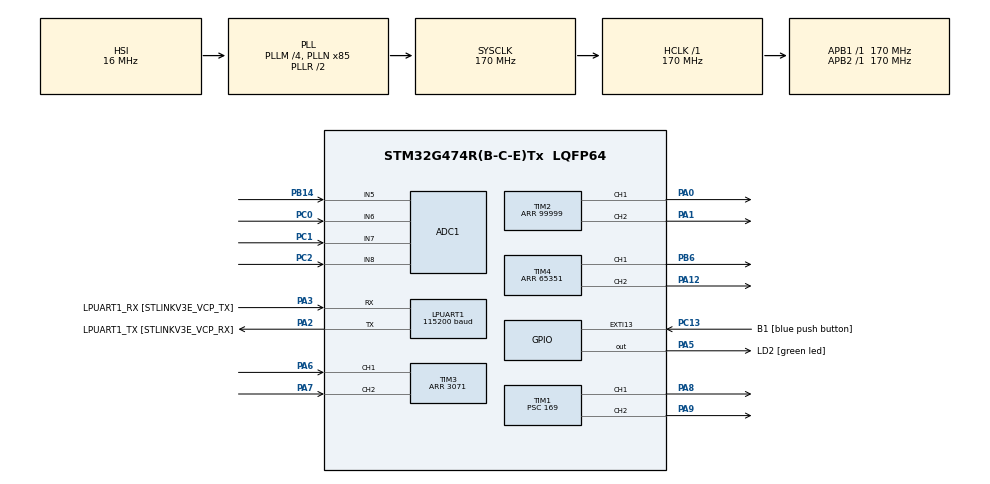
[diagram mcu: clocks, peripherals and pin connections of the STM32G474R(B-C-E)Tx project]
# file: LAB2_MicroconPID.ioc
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ADC1.Channel-1\#ChannelRegularConversion=ADC_CHANNEL_5
ADC1.Channel-2\#ChannelRegularConversion=ADC_CHANNEL_6
ADC1.Channel-3\#ChannelRegularConversion=ADC_CHANNEL_7
ADC1.Channel-4\#ChannelRegularConversion=ADC_CHANNEL_8
ADC1.ContinuousConvMode=ENABLE
ADC1.DMAContinuousRequests=ENABLE
ADC1.NbrOfConversion=4
ADC1.NbrOfConversionFlag=1
ADC1.OffsetNumber-1\#ChannelRegularConversion=ADC_OFFSET_NONE
ADC1.OffsetNumber-2\#ChannelRegularConversion=ADC_OFFSET_NONE
ADC1.OffsetNumber-3\#ChannelRegularConversion=ADC_OFFSET_NONE
ADC1.OffsetNumber-4\#ChannelRegularConversion=ADC_OFFSET_NONE
ADC1.Rank-1\#ChannelRegularConversion=1
ADC1.Rank-2\#ChannelRegularConversion=2
ADC1.Rank-3\#ChannelRegularConversion=3
ADC1.Rank-4\#ChannelRegularConversion=4
ADC1.SamplingTime-1\#ChannelRegularConversion=ADC_SAMPLETIME_640CYCLES_5
ADC1.SamplingTime-2\#ChannelRegularConversion=ADC_SAMPLETIME_640CYCLES_5
ADC1.SamplingTime-3\#ChannelRegularConversion=ADC_SAMPLETIME_640CYCLES_5
ADC1.SamplingTime-4\#ChannelRegularConversion=ADC_SAMPLETIME_640CYCLES_5
ADC1.master=1
ARM.CMSIS-DSP.1.15.0.CMSISJjDSP=Source
ARM.CMSIS.6.0.0.CMSISJjCORE=true
Dma.ADC1.0.Direction=DMA_PERIPH_TO_MEMORY
Dma.ADC1.0.EventEnable=DISABLE
Dma.ADC1.0.Instance=DMA1_Channel1
Dma.ADC1.0.MemDataAlignment=DMA_MDATAALIGN_HALFWORD
Dma.ADC1.0.MemInc=DMA_MINC_ENABLE
Dma.ADC1.0.Mode=DMA_CIRCULAR
Dma.ADC1.0.PeriphDataAlignment=DMA_PDATAALIGN_HALFWORD
Dma.ADC1.0.PeriphInc=DMA_PINC_DISABLE
Dma.ADC1.0.Polarity=HAL_DMAMUX_REQ_GEN_RISING
Dma.ADC1.0.Priority=DMA_PRIORITY_LOW
Dma.ADC1.0.RequestNumber=1
Dma.ADC1.0.SignalID=NONE
Dma.ADC1.0.SyncEnable=DISABLE
Dma.ADC1.0.SyncPolarity=HAL_DMAMUX_SYNC_NO_EVENT
Dma.ADC1.0.SyncRequestNumber=1
Dma.ADC1.0.SyncSignalID=NONE
Dma.LPUART1_RX.2.Direction=DMA_PERIPH_TO_MEMORY
Dma.LPUART1_RX.2.EventEnable=DISABLE
Dma.LPUART1_RX.2.Instance=DMA1_Channel3
Dma.LPUART1_RX.2.MemDataAlignment=DMA_MDATAALIGN_BYTE
Dma.LPUART1_RX.2.MemInc=DMA_MINC_ENABLE
Dma.LPUART1_RX.2.Mode=DMA_CIRCULAR
Dma.LPUART1_RX.2.PeriphDataAlignment=DMA_PDATAALIGN_BYTE
Dma.LPUART1_RX.2.PeriphInc=DMA_PINC_DISABLE
Dma.LPUART1_RX.2.Polarity=HAL_DMAMUX_REQ_GEN_RISING
Dma.LPUART1_RX.2.Priority=DMA_PRIORITY_LOW
Dma.LPUART1_RX.2.RequestNumber=1
Dma.LPUART1_RX.2.SignalID=NONE
Dma.LPUART1_RX.2.SyncEnable=DISABLE
Dma.LPUART1_RX.2.SyncPolarity=HAL_DMAMUX_SYNC_NO_EVENT
Dma.LPUART1_RX.2.SyncRequestNumber=1
Dma.LPUART1_RX.2.SyncSignalID=NONE
Dma.LPUART1_TX.1.Direction=DMA_MEMORY_TO_PERIPH
Dma.LPUART1_TX.1.EventEnable=DISABLE
Dma.LPUART1_TX.1.Instance=DMA1_Channel2
Dma.LPUART1_TX.1.MemDataAlignment=DMA_MDATAALIGN_BYTE
Dma.LPUART1_TX.1.MemInc=DMA_MINC_ENABLE
Dma.LPUART1_TX.1.Mode=DMA_NORMAL
Dma.LPUART1_TX.1.PeriphDataAlignment=DMA_PDATAALIGN_BYTE
Dma.LPUART1_TX.1.PeriphInc=DMA_PINC_DISABLE
Dma.LPUART1_TX.1.Polarity=HAL_DMAMUX_REQ_GEN_RISING
Dma.LPUART1_TX.1.Priority=DMA_PRIORITY_LOW
Dma.LPUART1_TX.1.RequestNumber=1
Dma.LPUART1_TX.1.SignalID=NONE
Dma.LPUART1_TX.1.SyncEnable=DISABLE
Dma.LPUART1_TX.1.SyncPolarity=HAL_DMAMUX_SYNC_NO_EVENT
Dma.LPUART1_TX.1.SyncRequestNumber=1
Dma.LPUART1_TX.1.SyncSignalID=NONE
Dma.Request0=ADC1
Dma.Request1=LPUART1_TX
Dma.Request2=LPUART1_RX
LPUART1.BaudRate=115200
LPUART1.WordLength=UART_WORDLENGTH_8B
Mcu.Family=STM32G4
Mcu.Name=STM32G474R(B-C-E)Tx
Mcu.Package=LQFP64
NVIC.DMA1_Channel1_IRQn=true\:0\:0\:false\:false\:true\:false\:true\:true
NVIC.DMA1_Channel2_IRQn=true\:0\:0\:false\:false\:true\:false\:true\:true
NVIC.DMA1_Channel3_IRQn=true\:0\:0\:false\:false\:true\:false\:true\:true
NVIC.EXTI15_10_IRQn=true\:0\:0\:false\:false\:true\:true\:true\:true
NVIC.LPUART1_IRQn=true\:0\:0\:false\:false\:true\:true\:true\:true
NVIC.PriorityGroup=NVIC_PRIORITYGROUP_4
NVIC.TIM5_IRQn=true\:0\:0\:false\:false\:true\:true\:true\:true
PA0.Signal=S_TIM2_CH1
PA1.Signal=S_TIM2_CH2
PA12.Signal=S_TIM4_CH2
PA13.GPIO_Label=T_SWDIO
PA13.Mode=Trace_Asynchronous_SW
PA13.Signal=SYS_JTMS-SWDIO
PA14.GPIO_Label=T_SWCLK
PA14.Mode=Trace_Asynchronous_SW
PA14.Signal=SYS_JTCK-SWCLK
PA2.GPIO_Label=LPUART1_TX [STLINKV3E_VCP_RX]
PA2.Mode=Asynchronous
PA2.Signal=LPUART1_TX
PA3.GPIO_Label=LPUART1_RX [STLINKV3E_VCP_TX]
PA3.Mode=Asynchronous
PA3.Signal=LPUART1_RX
PA5.GPIO_Label=LD2 [green led]
PA5.Signal=GPIO_Output
PA6.Signal=S_TIM3_CH1
PA7.Signal=S_TIM3_CH2
PA8.Signal=S_TIM1_CH1
PA9.Signal=S_TIM1_CH2
PB14.Mode=IN5-Single-Ended
PB14.Signal=ADC1_IN5
PB3.GPIO_Label=T_SWO
PB3.Mode=Trace_Asynchronous_SW
PB3.Signal=SYS_JTDO-SWO
PB6.Signal=S_TIM4_CH1
PC0.Mode=IN6-Single-Ended
PC0.Signal=ADC1_IN6
PC1.Mode=IN7-Single-Ended
PC1.Signal=ADC1_IN7
PC13.GPIO_Label=B1 [blue push button]
PC13.Signal=GPXTI13
PC14-OSC32_IN.Mode=LSE-External-Oscillator
PC14-OSC32_IN.Signal=RCC_OSC32_IN
PC15-OSC32_OUT.Mode=LSE-External-Oscillator
PC15-OSC32_OUT.Signal=RCC_OSC32_OUT
PC2.Mode=IN8-Single-Ended
PC2.Signal=ADC1_IN8
PF0-OSC_IN.Mode=HSE-External-Oscillator
PF0-OSC_IN.Signal=RCC_OSC_IN
PF1-OSC_OUT.Mode=HSE-External-Oscillator
PF1-OSC_OUT.Signal=RCC_OSC_OUT
ProjectManager.HeapSize=0x200
ProjectManager.StackSize=0x400
ProjectManager.TargetToolchain=STM32CubeIDE
RCC.ADC12Freq_Value=170000000
RCC.ADC345Freq_Value=170000000
RCC.AHBFreq_Value=170000000
RCC.APB1Freq_Value=170000000
RCC.APB1TimFreq_Value=170000000
RCC.APB2Freq_Value=170000000
RCC.APB2TimFreq_Value=170000000
RCC.CortexFreq_Value=170000000
RCC.EXTERNAL_CLOCK_VALUE=12288000
RCC.HCLKFreq_Value=170000000
RCC.HSE_VALUE=24000000
RCC.HSI48_VALUE=48000000
RCC.HSI_VALUE=16000000
RCC.PLLM=RCC_PLLM_DIV4
RCC.PLLN=85
RCC.RTCClockSelection=RCC_RTCCLKSOURCE_LSE
RCC.SYSCLKFreq_VALUE=170000000
RCC.SYSCLKSource=RCC_SYSCLKSOURCE_PLLCLK
RCC.USBFreq_Value=170000000
RCC.VCOOutputFreq_Value=340000000
SH.S_TIM1_CH1.0=TIM1_CH1,PWM Generation1 CH1
SH.S_TIM1_CH2.0=TIM1_CH2,PWM Generation2 CH2
SH.S_TIM2_CH1.0=TIM2_CH1,PWM Generation1 CH1
SH.S_TIM2_CH2.0=TIM2_CH2,PWM Generation2 CH2
SH.S_TIM3_CH1.0=TIM3_CH1,Encoder_Interface
SH.S_TIM3_CH2.0=TIM3_CH2,Encoder_Interface
SH.S_TIM4_CH1.0=TIM4_CH1,PWM Generation1 CH1
SH.S_TIM4_CH2.0=TIM4_CH2,PWM Generation2 CH2
TIM1.Channel-PWM\ Generation1\ CH1=TIM_CHANNEL_1
TIM1.Channel-PWM\ Generation2\ CH2=TIM_CHANNEL_2
TIM1.PeriodNoDither=1000
TIM1.Prescaler=169
TIM2.Channel-PWM\ Generation1\ CH1=TIM_CHANNEL_1
TIM2.Channel-PWM\ Generation2\ CH2=TIM_CHANNEL_2
TIM2.PeriodNoDither=99999
TIM2.PulseNoDither_1=50000
TIM2.PulseNoDither_2=50000
TIM3.EncoderMode=TIM_ENCODERMODE_TI12
TIM3.PeriodNoDither=3071
TIM4.Channel-PWM\ Generation1\ CH1=TIM_CHANNEL_1
TIM4.Channel-PWM\ Generation2\ CH2=TIM_CHANNEL_2
TIM4.PeriodNoDither=65351
TIM4.PulseNoDither_1=2000
TIM4.PulseNoDither_2=2000
VP_ARM.CMSIS-DSP_VS_CMSISJjDSP_1.15.0_1.15.0.Mode=CMSISJjDSP
VP_ARM.CMSIS_VS_CMSISJjCORE_6.0.0_6.0.0.Mode=CMSISJjCORE
VP_SYS_VS_DBSignals.Mode=DisableDeadBatterySignals
VP_TIM1_VS_ClockSourceINT.Mode=Internal
VP_TIM2_VS_ClockSourceINT.Mode=Internal
VP_TIM4_VS_ClockSourceINT.Mode=Internal
VP_TIM5_VS_ClockSourceINT.Mode=Internal
board=NUCLEO-G474RE

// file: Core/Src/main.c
/* USER CODE BEGIN Header */
/**
  ******************************************************************************
  * @file           : main.c
  * @brief          : Main program body
  ******************************************************************************
  * @attention
  *
  * Copyright (c) 2024 STMicroelectronics.
  * All rights reserved.
  *
  * This software is licensed under terms that can be found in the LICENSE file
  * in the root directory of this software component.
  * If no LICENSE file comes with this software, it is provided AS-IS.
  *
  ******************************************************************************
  */
/* USER CODE END Header */
#include "main.h"

/* USER CODE BEGIN Includes */
#include "arm_math.h"
#include "stdio.h"
#include "string.h"
/* USER CODE END Includes */

ADC_HandleTypeDef hadc1;
DMA_HandleTypeDef hdma_adc1;

UART_HandleTypeDef hlpuart1;
DMA_HandleTypeDef hdma_lpuart1_tx;
DMA_HandleTypeDef hdma_lpuart1_rx;

TIM_HandleTypeDef htim1;
TIM_HandleTypeDef htim2;
TIM_HandleTypeDef htim3;
TIM_HandleTypeDef htim4;
TIM_HandleTypeDef htim5;

/* USER CODE BEGIN PV */
int mode = 1;
uint16_t ADC_RawRead[40]={0};
int pot1=0;
int pot2=0;
int pot3=0;
int pot4=0;
int Avg_pot1=0;
int Avg_pot2=0;
int Avg_pot3=0;
int Avg_pot4=0;

//ข้อหนึ่ง
//uint16_t ReadADC[2] = {0};
//uint16_t RawADC = 0;
uint16_t RawADCmotor = 0;
int position_motor = 0;
float position_poten = 0;

arm_pid_instance_f32 PID = {0};
float position =0;
int setposition;
float Vfeedback;
float new_speed;
int Num;

//ข้อสอง
uint32_t QEIReadRaw2;
int zeta2;
arm_pid_instance_f32 PID2 = {0};
float position2 =0;
int setposition2 =0;
float Vfeedback2 = 0;

//ข้อสาม
uint16_t degree;
uint64_t _micros = 0;
int8_t convert[4];
uint8_t rx[5];
uint16_t adcavg;
uint16_t potentavg;
int sum=0;
int sump=0;
int16_t pwm;
uint16_t tune;

/* USER CODE END PV */

void SystemClock_Config(void);
static void MX_GPIO_Init(void);
static void MX_DMA_Init(void);
static void MX_LPUART1_UART_Init(void);
static void MX_TIM3_Init(void);
static void MX_TIM2_Init(void);
static void MX_ADC1_Init(void);
static void MX_TIM4_Init(void);
static void MX_TIM5_Init(void);
static void MX_TIM1_Init(void);
/* USER CODE BEGIN PFP */
//ข้อหนึ่ง
void question1_lab2();
void PWM_control();

float PlantSimulation(float VIn) // run with fix frequency
{
static float speed =0;
static float position =0;
float current= VIn - speed * 0.0123;
float torque = current * 0.456;
float acc = torque * 0.789;
speed += acc;
position += speed;
return position;
}
//ข้อสอง
float PlantSimulation2(float VIn) // run with fix frequency
{
static float speed =0;
static float position2 =0;
float current= VIn - speed * 0.0123;
float torque = current * 0.456;
float acc = torque * 0.789;
speed += acc;
position2 += speed;
return position2;
}
//ข้อสาม
uint64_t micros();
void UARTDMAconfig();

/* USER CODE END PFP */

int main(void)
{

  /* MCU Configuration--------------------------------------------------------*/

  /* Reset of all peripherals, Initializes the Flash interface and the Systick. */
  HAL_Init();

  /* Configure the system clock */
  SystemClock_Config();

  /* Initialize all configured peripherals */
  MX_GPIO_Init();
  MX_DMA_Init();
  MX_LPUART1_UART_Init();
  MX_TIM3_Init();
  MX_TIM2_Init();
  MX_ADC1_Init();
  MX_TIM4_Init();
  MX_TIM5_Init();
  MX_TIM1_Init();
  /* USER CODE BEGIN 2 */
  //ข้อหนึ่ง
  PID.Kp =0.001;
  PID.Ki =0;
  PID.Kd = 0;
  arm_pid_init_f32(&PID, 0);

  HAL_TIM_Base_Start(&htim1);
  HAL_TIM_PWM_Start(&htim1, TIM_CHANNEL_1);
  HAL_TIM_PWM_Start(&htim1, TIM_CHANNEL_2);
  //ข้อสอง
  HAL_TIM_Encoder_Start(&htim3,TIM_CHANNEL_ALL);

  HAL_ADCEx_Calibration_Start(&hadc1, ADC_SINGLE_ENDED);
  HAL_ADC_Start_DMA(&hadc1, ADC_RawRead, 40);

  HAL_TIM_Base_Start(&htim2);
  HAL_TIM_PWM_Start(&htim2, TIM_CHANNEL_1);
  HAL_TIM_PWM_Start(&htim2, TIM_CHANNEL_2);

  PID2.Kp =0.1;
  PID2.Ki =0.00001;
  PID2.Kd = 0.1;
  arm_pid_init_f32(&PID2, 0);

  //ข้อสาม

  HAL_TIM_Base_Start(&htim4);
  HAL_TIM_Base_Start_IT(&htim5);
  HAL_TIM_PWM_Start(&htim4,TIM_CHANNEL_1);
  HAL_TIM_PWM_Start(&htim4,TIM_CHANNEL_2);
  UARTDMAconfig();
  /* USER CODE END 2 */

  /* Infinite loop */
  while (1)
  {

    /* USER CODE BEGIN 3 */
	  swapmode();
	  ADC_pot();
	  //ข้อหนึ่ง
	  if (mode == 1){
	  HAL_GPIO_WritePin(GPIOA, GPIO_PIN_5, GPIO_PIN_SET);
	  question1_lab2();
	  	 //PWM_control();

	  	 Vfeedback = arm_pid_f32(&PID, (setposition - position_motor)*10000.0);
	  	 new_speed = ((Vfeedback/360.0)*1000.0);
	  	 setposition = position_poten;

	  	 if(setposition != 0){
	  		if (setposition - position_motor > -2 && setposition - position_motor < 2)
	  	 {

	  		 __HAL_TIM_SET_COMPARE(&htim1, TIM_CHANNEL_1, 0);
	  		 __HAL_TIM_SET_COMPARE(&htim1, TIM_CHANNEL_2, 0);
	  		 Num = 1;

	  	 }
	  		if (setposition - position_motor < -3 || setposition - position_motor > 3)
	  			 {
	  				 if(Vfeedback < -1){
	  					 __HAL_TIM_SET_COMPARE(&htim1, TIM_CHANNEL_1, 0);
	  					 __HAL_TIM_SET_COMPARE(&htim1, TIM_CHANNEL_2, -new_speed);
	  					 Num = 2;

	  				 }
	  				 else if(Vfeedback > 1){
	  					 __HAL_TIM_SET_COMPARE(&htim1, TIM_CHANNEL_1, new_speed);
	  					 __HAL_TIM_SET_COMPARE(&htim1, TIM_CHANNEL_2, 0);

	  					 Num = 3;

	  				 }

	  	 }

	  	 }
	  }

	  //ข้อสอง
	  if (mode == 2){
	  HAL_GPIO_WritePin(GPIOA, GPIO_PIN_5, GPIO_PIN_RESET);
	  //Encoder
	  QEIReadRaw2 = __HAL_TIM_GET_COUNTER(&htim3);
	  zeta2 = QEIReadRaw2/3071.0*360.0;
	  //PID
	  setposition2 = (Avg_pot2/4095.0*359);
	  static uint32_t timestamp =0;
	  if(timestamp < HAL_GetTick())
	  {
	  timestamp = HAL_GetTick()+1;
	  Vfeedback2 = arm_pid_f32(&PID2, setposition2 - position2);
	  position2 = PlantSimulation2(Vfeedback2);
	  }
	  //Motordrive
	  if ((zeta2>position2*0.98 && zeta2<position2*1.02))
	  {
	  __HAL_TIM_SET_COMPARE(&htim2, TIM_CHANNEL_1, 0);
	  __HAL_TIM_SET_COMPARE(&htim2, TIM_CHANNEL_2, 0);
	  }
	  if(zeta2<setposition2){
	  __HAL_TIM_SET_COMPARE(&htim2, TIM_CHANNEL_1, 10000);
	  __HAL_TIM_SET_COMPARE(&htim2, TIM_CHANNEL_2, 0);
	  }if(zeta2>setposition2){
	  __HAL_TIM_SET_COMPARE(&htim2, TIM_CHANNEL_1, 0);
	  __HAL_TIM_SET_COMPARE(&htim2, TIM_CHANNEL_2, 10000);
	  }
	  }

	  //ข้อสาม
	  if (mode == 3){

	  adcavg=Avg_pot3;
	  potentavg=Avg_pot4;
	  degree=(potentavg*360.0/4095.0);
	  sum=0;
	  sump=0;
		  	 static uint64_t timestamp =0;
		  	 	  int64_t currentTime = micros();

		  	 	  if(currentTime > timestamp)
		  	 	  {
		  	 		  timestamp = currentTime + 5000;//us
		  	 		  convert[0]=0x69;
		  	 		  convert[1]=(uint8_t)(adcavg-potentavg & 0xFF);
		  	 		 convert[2]=(uint8_t)((adcavg-potentavg>>8) & 0xFF);
		  	 		 convert[3]=0x0A;
		  	  HAL_UART_Transmit_IT(&hlpuart1,convert,sizeof(convert));
		  	 	  }
		  	 	  UARTDMAconfig();
		  	 	  if(pwm>0){
		  	 		 __HAL_TIM_SET_COMPARE(&htim4,TIM_CHANNEL_1,0);
		  	 		 __HAL_TIM_SET_COMPARE(&htim4,TIM_CHANNEL_2,tune);

		  	 	  }
		  	 	  else if(pwm<0){
		  	 	 	 		 __HAL_TIM_SET_COMPARE(&htim4,TIM_CHANNEL_1,tune);
		  	 	 	 		 __HAL_TIM_SET_COMPARE(&htim4,TIM_CHANNEL_2,0);
		  	 	 	 	  }
	  static uint32_t timeStamp =0;
	  if(HAL_GetTick()>timeStamp){
	  	timeStamp = HAL_GetTick()+500;
	  	HAL_GPIO_TogglePin(LD2_GPIO_Port, LD2_Pin);
	  }
	  		}

  }
  /* USER CODE END 3 */
}

void SystemClock_Config(void)
{
  RCC_OscInitTypeDef RCC_OscInitStruct = {0};
  RCC_ClkInitTypeDef RCC_ClkInitStruct = {0};

  /** Configure the main internal regulator output voltage
  */
  HAL_PWREx_ControlVoltageScaling(PWR_REGULATOR_VOLTAGE_SCALE1_BOOST);

  /** Initializes the RCC Oscillators according to the specified parameters
  * in the RCC_OscInitTypeDef structure.
  */
  RCC_OscInitStruct.OscillatorType = RCC_OSCILLATORTYPE_HSI;
  RCC_OscInitStruct.HSIState = RCC_HSI_ON;
  RCC_OscInitStruct.HSICalibrationValue = RCC_HSICALIBRATION_DEFAULT;
  RCC_OscInitStruct.PLL.PLLState = RCC_PLL_ON;
  RCC_OscInitStruct.PLL.PLLSource = RCC_PLLSOURCE_HSI;
  RCC_OscInitStruct.PLL.PLLM = RCC_PLLM_DIV4;
  RCC_OscInitStruct.PLL.PLLN = 85;
  RCC_OscInitStruct.PLL.PLLP = RCC_PLLP_DIV2;
  RCC_OscInitStruct.PLL.PLLQ = RCC_PLLQ_DIV2;
  RCC_OscInitStruct.PLL.PLLR = RCC_PLLR_DIV2;
  if (HAL_RCC_OscConfig(&RCC_OscInitStruct) != HAL_OK)
  {
    Error_Handler();
  }

  /** Initializes the CPU, AHB and APB buses clocks
  */
  RCC_ClkInitStruct.ClockType = RCC_CLOCKTYPE_HCLK|RCC_CLOCKTYPE_SYSCLK
                              |RCC_CLOCKTYPE_PCLK1|RCC_CLOCKTYPE_PCLK2;
  RCC_ClkInitStruct.SYSCLKSource = RCC_SYSCLKSOURCE_PLLCLK;
  RCC_ClkInitStruct.AHBCLKDivider = RCC_SYSCLK_DIV1;
  RCC_ClkInitStruct.APB1CLKDivider = RCC_HCLK_DIV1;
  RCC_ClkInitStruct.APB2CLKDivider = RCC_HCLK_DIV1;

  if (HAL_RCC_ClockConfig(&RCC_ClkInitStruct, FLASH_LATENCY_4) != HAL_OK)
  {
    Error_Handler();
  }
}

static void MX_ADC1_Init(void)
{

  ADC_MultiModeTypeDef multimode = {0};
  ADC_ChannelConfTypeDef sConfig = {0};

  /** Common config
  */
  hadc1.Instance = ADC1;
  hadc1.Init.ClockPrescaler = ADC_CLOCK_SYNC_PCLK_DIV4;
  hadc1.Init.Resolution = ADC_RESOLUTION_12B;
  hadc1.Init.DataAlign = ADC_DATAALIGN_RIGHT;
  hadc1.Init.GainCompensation = 0;
  hadc1.Init.ScanConvMode = ADC_SCAN_ENABLE;
  hadc1.Init.EOCSelection = ADC_EOC_SINGLE_CONV;
  hadc1.Init.LowPowerAutoWait = DISABLE;
  hadc1.Init.ContinuousConvMode = ENABLE;
  hadc1.Init.NbrOfConversion = 4;
  hadc1.Init.DiscontinuousConvMode = DISABLE;
  hadc1.Init.ExternalTrigConv = ADC_SOFTWARE_START;
  hadc1.Init.ExternalTrigConvEdge = ADC_EXTERNALTRIGCONVEDGE_NONE;
  hadc1.Init.DMAContinuousRequests = ENABLE;
  hadc1.Init.Overrun = ADC_OVR_DATA_PRESERVED;
  hadc1.Init.OversamplingMode = DISABLE;
  if (HAL_ADC_Init(&hadc1) != HAL_OK)
  {
    Error_Handler();
  }

  /** Configure the ADC multi-mode
  */
  multimode.Mode = ADC_MODE_INDEPENDENT;
  if (HAL_ADCEx_MultiModeConfigChannel(&hadc1, &multimode) != HAL_OK)
  {
    Error_Handler();
  }

  /** Configure Regular Channel
  */
  sConfig.Channel = ADC_CHANNEL_5;
  sConfig.Rank = ADC_REGULAR_RANK_1;
  sConfig.SamplingTime = ADC_SAMPLETIME_640CYCLES_5;
  sConfig.SingleDiff = ADC_SINGLE_ENDED;
  sConfig.OffsetNumber = ADC_OFFSET_NONE;
  sConfig.Offset = 0;
  if (HAL_ADC_ConfigChannel(&hadc1, &sConfig) != HAL_OK)
  {
    Error_Handler();
  }

  /** Configure Regular Channel
  */
  sConfig.Channel = ADC_CHANNEL_6;
  sConfig.Rank = ADC_REGULAR_RANK_2;
  if (HAL_ADC_ConfigChannel(&hadc1, &sConfig) != HAL_OK)
  {
    Error_Handler();
  }

  /** Configure Regular Channel
  */
  sConfig.Channel = ADC_CHANNEL_7;
  sConfig.Rank = ADC_REGULAR_RANK_3;
  if (HAL_ADC_ConfigChannel(&hadc1, &sConfig) != HAL_OK)
  {
    Error_Handler();
  }

  /** Configure Regular Channel
  */
  sConfig.Channel = ADC_CHANNEL_8;
  sConfig.Rank = ADC_REGULAR_RANK_4;
  if (HAL_ADC_ConfigChannel(&hadc1, &sConfig) != HAL_OK)
  {
    Error_Handler();
  }

}

static void MX_LPUART1_UART_Init(void)
{

  hlpuart1.Instance = LPUART1;
  hlpuart1.Init.BaudRate = 115200;
  hlpuart1.Init.WordLength = UART_WORDLENGTH_8B;
  hlpuart1.Init.StopBits = UART_STOPBITS_1;
  hlpuart1.Init.Parity = UART_PARITY_NONE;
  hlpuart1.Init.Mode = UART_MODE_TX_RX;
  hlpuart1.Init.HwFlowCtl = UART_HWCONTROL_NONE;
  hlpuart1.Init.OneBitSampling = UART_ONE_BIT_SAMPLE_DISABLE;
  hlpuart1.Init.ClockPrescaler = UART_PRESCALER_DIV1;
  hlpuart1.AdvancedInit.AdvFeatureInit = UART_ADVFEATURE_NO_INIT;
  if (HAL_UART_Init(&hlpuart1) != HAL_OK)
  {
    Error_Handler();
  }
  if (HAL_UARTEx_SetTxFifoThreshold(&hlpuart1, UART_TXFIFO_THRESHOLD_1_8) != HAL_OK)
  {
    Error_Handler();
  }
  if (HAL_UARTEx_SetRxFifoThreshold(&hlpuart1, UART_RXFIFO_THRESHOLD_1_8) != HAL_OK)
  {
    Error_Handler();
  }
  if (HAL_UARTEx_DisableFifoMode(&hlpuart1) != HAL_OK)
  {
    Error_Handler();
  }

}

static void MX_TIM1_Init(void)
{

  TIM_ClockConfigTypeDef sClockSourceConfig = {0};
  TIM_MasterConfigTypeDef sMasterConfig = {0};
  TIM_OC_InitTypeDef sConfigOC = {0};
  TIM_BreakDeadTimeConfigTypeDef sBreakDeadTimeConfig = {0};

  htim1.Instance = TIM1;
  htim1.Init.Prescaler = 169;
  htim1.Init.CounterMode = TIM_COUNTERMODE_UP;
  htim1.Init.Period = 1000;
  htim1.Init.ClockDivision = TIM_CLOCKDIVISION_DIV1;
  htim1.Init.RepetitionCounter = 0;
  htim1.Init.AutoReloadPreload = TIM_AUTORELOAD_PRELOAD_DISABLE;
  if (HAL_TIM_Base_Init(&htim1) != HAL_OK)
  {
    Error_Handler();
  }
  sClockSourceConfig.ClockSource = TIM_CLOCKSOURCE_INTERNAL;
  if (HAL_TIM_ConfigClockSource(&htim1, &sClockSourceConfig) != HAL_OK)
  {
    Error_Handler();
  }
  if (HAL_TIM_PWM_Init(&htim1) != HAL_OK)
  {
    Error_Handler();
  }
  sMasterConfig.MasterOutputTrigger = TIM_TRGO_RESET;
  sMasterConfig.MasterOutputTrigger2 = TIM_TRGO2_RESET;
  sMasterConfig.MasterSlaveMode = TIM_MASTERSLAVEMODE_DISABLE;
  if (HAL_TIMEx_MasterConfigSynchronization(&htim1, &sMasterConfig) != HAL_OK)
  {
    Error_Handler();
  }
  sConfigOC.OCMode = TIM_OCMODE_PWM1;
  sConfigOC.Pulse = 0;
  sConfigOC.OCPolarity = TIM_OCPOLARITY_HIGH;
  sConfigOC.OCNPolarity = TIM_OCNPOLARITY_HIGH;
  sConfigOC.OCFastMode = TIM_OCFAST_DISABLE;
  sConfigOC.OCIdleState = TIM_OCIDLESTATE_RESET;
  sConfigOC.OCNIdleState = TIM_OCNIDLESTATE_RESET;
  if (HAL_TIM_PWM_ConfigChannel(&htim1, &sConfigOC, TIM_CHANNEL_1) != HAL_OK)
  {
    Error_Handler();
  }
  if (HAL_TIM_PWM_ConfigChannel(&htim1, &sConfigOC, TIM_CHANNEL_2) != HAL_OK)
  {
    Error_Handler();
  }
  sBreakDeadTimeConfig.OffStateRunMode = TIM_OSSR_DISABLE;
  sBreakDeadTimeConfig.OffStateIDLEMode = TIM_OSSI_DISABLE;
  sBreakDeadTimeConfig.LockLevel = TIM_LOCKLEVEL_OFF;
  sBreakDeadTimeConfig.DeadTime = 0;
  sBreakDeadTimeConfig.BreakState = TIM_BREAK_DISABLE;
  sBreakDeadTimeConfig.BreakPolarity = TIM_BREAKPOLARITY_HIGH;
  sBreakDeadTimeConfig.BreakFilter = 0;
  sBreakDeadTimeConfig.BreakAFMode = TIM_BREAK_AFMODE_INPUT;
  sBreakDeadTimeConfig.Break2State = TIM_BREAK2_DISABLE;
  sBreakDeadTimeConfig.Break2Polarity = TIM_BREAK2POLARITY_HIGH;
  sBreakDeadTimeConfig.Break2Filter = 0;
  sBreakDeadTimeConfig.Break2AFMode = TIM_BREAK_AFMODE_INPUT;
  sBreakDeadTimeConfig.AutomaticOutput = TIM_AUTOMATICOUTPUT_DISABLE;
  if (HAL_TIMEx_ConfigBreakDeadTime(&htim1, &sBreakDeadTimeConfig) != HAL_OK)
  {
    Error_Handler();
  }
  HAL_TIM_MspPostInit(&htim1);

}

static void MX_TIM2_Init(void)
{

  TIM_ClockConfigTypeDef sClockSourceConfig = {0};
  TIM_MasterConfigTypeDef sMasterConfig = {0};
  TIM_OC_InitTypeDef sConfigOC = {0};

  htim2.Instance = TIM2;
  htim2.Init.Prescaler = 0;
  htim2.Init.CounterMode = TIM_COUNTERMODE_UP;
  htim2.Init.Period = 99999;
  htim2.Init.ClockDivision = TIM_CLOCKDIVISION_DIV1;
  htim2.Init.AutoReloadPreload = TIM_AUTORELOAD_PRELOAD_DISABLE;
  if (HAL_TIM_Base_Init(&htim2) != HAL_OK)
  {
    Error_Handler();
  }
  sClockSourceConfig.ClockSource = TIM_CLOCKSOURCE_INTERNAL;
  if (HAL_TIM_ConfigClockSource(&htim2, &sClockSourceConfig) != HAL_OK)
  {
    Error_Handler();
  }
  if (HAL_TIM_PWM_Init(&htim2) != HAL_OK)
  {
    Error_Handler();
  }
  sMasterConfig.MasterOutputTrigger = TIM_TRGO_RESET;
  sMasterConfig.MasterSlaveMode = TIM_MASTERSLAVEMODE_DISABLE;
  if (HAL_TIMEx_MasterConfigSynchronization(&htim2, &sMasterConfig) != HAL_OK)
  {
    Error_Handler();
  }
  sConfigOC.OCMode = TIM_OCMODE_PWM1;
  sConfigOC.Pulse = 50000;
  sConfigOC.OCPolarity = TIM_OCPOLARITY_HIGH;
  sConfigOC.OCFastMode = TIM_OCFAST_DISABLE;
  if (HAL_TIM_PWM_ConfigChannel(&htim2, &sConfigOC, TIM_CHANNEL_1) != HAL_OK)
  {
    Error_Handler();
  }
  if (HAL_TIM_PWM_ConfigChannel(&htim2, &sConfigOC, TIM_CHANNEL_2) != HAL_OK)
  {
    Error_Handler();
  }
  HAL_TIM_MspPostInit(&htim2);

}

static void MX_TIM3_Init(void)
{

  TIM_Encoder_InitTypeDef sConfig = {0};
  TIM_MasterConfigTypeDef sMasterConfig = {0};

  htim3.Instance = TIM3;
  htim3.Init.Prescaler = 0;
  htim3.Init.CounterMode = TIM_COUNTERMODE_UP;
  htim3.Init.Period = 3071;
  htim3.Init.ClockDivision = TIM_CLOCKDIVISION_DIV1;
  htim3.Init.AutoReloadPreload = TIM_AUTORELOAD_PRELOAD_DISABLE;
  sConfig.EncoderMode = TIM_ENCODERMODE_TI12;
  sConfig.IC1Polarity = TIM_ICPOLARITY_RISING;
  sConfig.IC1Selection = TIM_ICSELECTION_DIRECTTI;
  sConfig.IC1Prescaler = TIM_ICPSC_DIV1;
  sConfig.IC1Filter = 0;
  sConfig.IC2Polarity = TIM_ICPOLARITY_RISING;
  sConfig.IC2Selection = TIM_ICSELECTION_DIRECTTI;
  sConfig.IC2Prescaler = TIM_ICPSC_DIV1;
  sConfig.IC2Filter = 0;
  if (HAL_TIM_Encoder_Init(&htim3, &sConfig) != HAL_OK)
  {
    Error_Handler();
  }
  sMasterConfig.MasterOutputTrigger = TIM_TRGO_RESET;
  sMasterConfig.MasterSlaveMode = TIM_MASTERSLAVEMODE_DISABLE;
  if (HAL_TIMEx_MasterConfigSynchronization(&htim3, &sMasterConfig) != HAL_OK)
  {
    Error_Handler();
  }

}

static void MX_TIM4_Init(void)
{

  TIM_ClockConfigTypeDef sClockSourceConfig = {0};
  TIM_MasterConfigTypeDef sMasterConfig = {0};
  TIM_OC_InitTypeDef sConfigOC = {0};

  htim4.Instance = TIM4;
  htim4.Init.Prescaler = 0;
  htim4.Init.CounterMode = TIM_COUNTERMODE_UP;
  htim4.Init.Period = 65351;
  htim4.Init.ClockDivision = TIM_CLOCKDIVISION_DIV1;
  htim4.Init.AutoReloadPreload = TIM_AUTORELOAD_PRELOAD_DISABLE;
  if (HAL_TIM_Base_Init(&htim4) != HAL_OK)
  {
    Error_Handler();
  }
  sClockSourceConfig.ClockSource = TIM_CLOCKSOURCE_INTERNAL;
  if (HAL_TIM_ConfigClockSource(&htim4, &sClockSourceConfig) != HAL_OK)
  {
    Error_Handler();
  }
  if (HAL_TIM_PWM_Init(&htim4) != HAL_OK)
  {
    Error_Handler();
  }
  sMasterConfig.MasterOutputTrigger = TIM_TRGO_RESET;
  sMasterConfig.MasterSlaveMode = TIM_MASTERSLAVEMODE_DISABLE;
  if (HAL_TIMEx_MasterConfigSynchronization(&htim4, &sMasterConfig) != HAL_OK)
  {
    Error_Handler();
  }
  sConfigOC.OCMode = TIM_OCMODE_PWM1;
  sConfigOC.Pulse = 2000;
  sConfigOC.OCPolarity = TIM_OCPOLARITY_HIGH;
  sConfigOC.OCFastMode = TIM_OCFAST_DISABLE;
  if (HAL_TIM_PWM_ConfigChannel(&htim4, &sConfigOC, TIM_CHANNEL_1) != HAL_OK)
  {
    Error_Handler();
  }
  if (HAL_TIM_PWM_ConfigChannel(&htim4, &sConfigOC, TIM_CHANNEL_2) != HAL_OK)
  {
    Error_Handler();
  }
  HAL_TIM_MspPostInit(&htim4);

}

static void MX_TIM5_Init(void)
{

  TIM_ClockConfigTypeDef sClockSourceConfig = {0};
  TIM_MasterConfigTypeDef sMasterConfig = {0};

  htim5.Instance = TIM5;
  htim5.Init.Prescaler = 0;
  htim5.Init.CounterMode = TIM_COUNTERMODE_UP;
  htim5.Init.Period = 4.294967295E9;
  htim5.Init.ClockDivision = TIM_CLOCKDIVISION_DIV1;
  htim5.Init.AutoReloadPreload = TIM_AUTORELOAD_PRELOAD_DISABLE;
  if (HAL_TIM_Base_Init(&htim5) != HAL_OK)
  {
    Error_Handler();
  }
  sClockSourceConfig.ClockSource = TIM_CLOCKSOURCE_INTERNAL;
  if (HAL_TIM_ConfigClockSource(&htim5, &sClockSourceConfig) != HAL_OK)
  {
    Error_Handler();
  }
  sMasterConfig.MasterOutputTrigger = TIM_TRGO_RESET;
  sMasterConfig.MasterSlaveMode = TIM_MASTERSLAVEMODE_DISABLE;
  if (HAL_TIMEx_MasterConfigSynchronization(&htim5, &sMasterConfig) != HAL_OK)
  {
    Error_Handler();
  }

}

static void MX_DMA_Init(void)
{

  /* DMA controller clock enable */
  __HAL_RCC_DMAMUX1_CLK_ENABLE();
  __HAL_RCC_DMA1_CLK_ENABLE();

  /* DMA interrupt init */
  /* DMA1_Channel1_IRQn interrupt configuration */
  HAL_NVIC_SetPriority(DMA1_Channel1_IRQn, 0, 0);
  HAL_NVIC_EnableIRQ(DMA1_Channel1_IRQn);
  /* DMA1_Channel2_IRQn interrupt configuration */
  HAL_NVIC_SetPriority(DMA1_Channel2_IRQn, 0, 0);
  HAL_NVIC_EnableIRQ(DMA1_Channel2_IRQn);
  /* DMA1_Channel3_IRQn interrupt configuration */
  HAL_NVIC_SetPriority(DMA1_Channel3_IRQn, 0, 0);
  HAL_NVIC_EnableIRQ(DMA1_Channel3_IRQn);

}

static void MX_GPIO_Init(void)
{
  GPIO_InitTypeDef GPIO_InitStruct = {0};

  /* GPIO Ports Clock Enable */
  __HAL_RCC_GPIOC_CLK_ENABLE();
  __HAL_RCC_GPIOF_CLK_ENABLE();
  __HAL_RCC_GPIOA_CLK_ENABLE();
  __HAL_RCC_GPIOB_CLK_ENABLE();

  /*Configure GPIO pin Output Level */
  HAL_GPIO_WritePin(LD2_GPIO_Port, LD2_Pin, GPIO_PIN_RESET);

  /*Configure GPIO pin : B1_Pin */
  GPIO_InitStruct.Pin = B1_Pin;
  GPIO_InitStruct.Mode = GPIO_MODE_IT_RISING;
  GPIO_InitStruct.Pull = GPIO_NOPULL;
  HAL_GPIO_Init(B1_GPIO_Port, &GPIO_InitStruct);

  /*Configure GPIO pin : LD2_Pin */
  GPIO_InitStruct.Pin = LD2_Pin;
  GPIO_InitStruct.Mode = GPIO_MODE_OUTPUT_PP;
  GPIO_InitStruct.Pull = GPIO_NOPULL;
  GPIO_InitStruct.Speed = GPIO_SPEED_FREQ_LOW;
  HAL_GPIO_Init(LD2_GPIO_Port, &GPIO_InitStruct);

  /* EXTI interrupt init*/
  HAL_NVIC_SetPriority(EXTI15_10_IRQn, 0, 0);
  HAL_NVIC_EnableIRQ(EXTI15_10_IRQn);

}

/* USER CODE BEGIN 4 */
//ข้อหนึ่ง
question1_lab2()
{
	position_poten =(Avg_pot1 * 360.0)/4095.0;
	position_motor =(Avg_pot4 * 360.0)/4095.0;
//	setposition = position_poten;
}
//ข้อสอง
void swapmode(){
	if (HAL_GPIO_ReadPin(GPIOC, GPIO_PIN_13) == GPIO_PIN_SET && mode == 1) {
			mode = 2;
			HAL_Delay(500);
		}
	else if (HAL_GPIO_ReadPin(GPIOC, GPIO_PIN_13) == GPIO_PIN_SET && mode == 2) {
			mode = 3;
			HAL_Delay(500);
		}

	else if (HAL_GPIO_ReadPin(GPIOC, GPIO_PIN_13) == GPIO_PIN_SET && mode == 3) {
			mode = 1;
			HAL_Delay(500);
		}
}
void ADC_pot(){
	pot1=0;
	pot2=0;
	pot3=0;
	pot4=0;
	for(int i=0; i<40; i+=4){
		pot1+=ADC_RawRead[i];
		pot2+=ADC_RawRead[i+1];
		pot3+=ADC_RawRead[i+2];
		pot4+=ADC_RawRead[i+3];
		}
	Avg_pot1=pot1/10.0;
	Avg_pot2=pot2/10.0;
	Avg_pot3=pot3/10.0;
	Avg_pot4=pot4/10.0;
}

//ข้อสาม
void HAL_TIM_PeriodElapsedCallback(TIM_HandleTypeDef *htim)
{
if(htim == &htim5)
{
_micros += UINT32_MAX;
}
}
uint64_t micros()
{
return __HAL_TIM_GET_COUNTER(&htim5)+_micros;
}
void UARTDMAconfig()
{
	HAL_UART_Receive(&hlpuart1, rx, 4,5);
	rx[4]='\0';
	pwm=(int16_t)(rx[1]+(rx[2]<<8));
	tune=((pwm+32676)*65536)/65352;
}

/* USER CODE END 4 */

void Error_Handler(void)
{
  __disable_irq();
  while (1)
  {
  }
}
